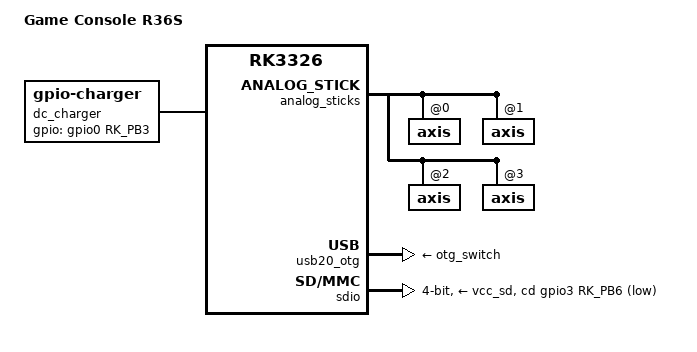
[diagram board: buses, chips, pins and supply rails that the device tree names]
// SPDX-License-Identifier: (GPL-2.0+ OR MIT)
/*
 * Game Console R36S (RK3326)
 *
 * The R36S is electrically very close to the ODROID-GO Super (which is
 * also what ArkOS boots it as), so this builds on the mainline
 * rk3326-odroid-go3.dts and only patches the differences that matter
 * for a headless boot. Differences were taken from the vendor DTB
 * shipped with ArkOS and from ROCKNIX's rk3326-gameconsole-r36s.dts.
 */

#include "rk3326-odroid-go3.dts"

/ {
	model = "Game Console R36S";
	compatible = "gameconsole,r36s", "hardkernel,rk3326-odroid-go3", "rockchip,rk3326";

	aliases {
		mmc0 = &sdmmc;
		mmc1 = &sdio;
	};

	/*
	 * The DC port does not go to the rk817 charger: the battery is
	 * charged by a separate charger IC, and the DC port also powers the
	 * OTG port directly. The rk817 is only used as fuel gauge, so expose
	 * the DC detect line as the mains supply.
	 */
	dc_charger: dc-charger {
		compatible = "gpio-charger";
		charger-type = "mains";
		gpios = <&gpio0 RK_PB3 GPIO_ACTIVE_HIGH>;
		pinctrl-names = "default";
		pinctrl-0 = <&dc_det>;
	};
};

/* 3380 mAh, values and OCV curve from the vendor DTB */
&battery {
	charge-full-design-microamp-hours = <3380000>;
	charge-term-current-microamp = <320000>;
	ocv-capacity-table-0 =  <4000000 100>, <3995000 95>, <3990000 90>, <3950000 85>,
				<3910000 80>, <3870000 75>, <3830000 70>, <3790000 65>,
				<3750000 60>, <3710000 55>, <3670000 50>, <3630000 45>,
				<3580000 40>, <3530000 35>, <3480000 30>, <3430000 25>,
				<3380000 20>, <3330000 15>, <3280000 10>, <3220000 5>,
				<3165000 0>;
};

/*
 * Same GPIOs as the ODROID-GO Super, but the R36S has L3/R3/FN where the
 * ODROID has F3-F6. Verified with evtest.
 */
&builtin_gamepad {
	button-sw11 {
		label = "L3";
		linux,code = <BTN_THUMBL>;
	};

	button-sw12 {
		label = "R3";
		linux,code = <BTN_THUMBR>;
	};

	button-sw13 {
		label = "FN";
		linux,code = <BTN_MODE>;
	};

	/* GPIO2_A5 is not connected */
	/delete-node/ button-sw14;
};

/*
 * Raw stick travel is about 60-900 around a center of ~512. The left
 * stick is mounted the other way round, a reversed abs-range inverts
 * the axis.
 *
 * adc_joystick_invert() in Linux 7.2 looks up the axis range by the
 * channel index instead of the event code, so inverted axes only work
 * when reg == linux,code. The channels are reordered to make that true
 * for ABS_X (0) and ABS_Y (1).
 */
&analog_sticks {
	io-channels = <&joystick_mux 0>,	/* left X */
		      <&joystick_mux 2>,	/* left Y */
		      <&joystick_mux 1>,	/* right X */
		      <&joystick_mux 3>;	/* right Y */

	axis@0 {
		linux,code = <ABS_X>;
		abs-range = <912 112>;
	};

	axis@1 {
		linux,code = <ABS_Y>;
		abs-range = <912 112>;
	};

	axis@2 {
		linux,code = <ABS_RX>;
		abs-range = <112 912>;
	};

	axis@3 {
		linux,code = <ABS_RY>;
		abs-range = <112 912>;
	};
};

/*
 * The R36S speaker is driven by an external amplifier on the headphone
 * outputs, which is cut off in hardware when headphones are plugged in.
 * The rk817's own class D output (SPKO) is not connected, so leave it
 * out to keep the codec's "Playback Mux" on HP.
 */
&{/rk817-sound} {
	simple-audio-card,hp-det-gpios = <&gpio2 RK_PC6 GPIO_ACTIVE_LOW>;
	simple-audio-card,widgets =
		"Microphone", "Mic Jack",
		"Headphone", "Headphones";
	simple-audio-card,routing =
		"MICL", "Mic Jack",
		"Headphones", "HPOL",
		"Headphones", "HPOR";
};

&rk817 {
	/*
	 * Restart and power off through the PMIC. The PSCI SYSTEM_RESET of
	 * the vendor BL31 (v1.3, 2018) never returns, so without this
	 * `reboot` hangs after "reboot: Restarting system".
	 */
	system-power-controller;

	regulators {
		/* 5V VBUS for the OTG port, needed for USB WiFi dongles */
		otg_switch: OTG_SWITCH {
			regulator-name = "otg_switch";
			regulator-boot-on;
		};
	};
};

&usb20_otg {
	vbus-supply = <&otg_switch>;
};

/* Second microSD slot ("TF2") */
&sdio {
	bus-width = <4>;
	cap-sd-highspeed;
	card-detect-delay = <800>;
	cd-gpios = <&gpio3 RK_PB6 GPIO_ACTIVE_LOW>;
	disable-wp;
	sd-uhs-sdr12;
	sd-uhs-sdr25;
	sd-uhs-sdr50;
	sd-uhs-sdr104;
	vmmc-supply = <&vcc_sd>;
	vqmmc-supply = <&vccio_sd>;
	status = "okay";
};

/*
 * The R36S ships with a number of different panels, none of which have a
 * mainline driver. Use ROCKNIX's panel-generic-dsi driver
 * (drivers/panel-generic-dsi) which takes the whole panel description
 * from the device tree.
 *
 * This is the original 640x480 ST7703 panel ("Panel 0" in the ArkOS
 * panel chooser), converted from the vendor rk3326-r35s-linux.dtb:
 *
 *   G  size=<width_mm>,<height_mm> delays=<prepare>,<reset>,<init>,<enable>,<ready>
 *      (delays in ms), flags are MIPI_DSI_MODE_* bits
 *   M  clock=<kHz> horizontal=<active>,<fp>,<sync>,<bp> vertical=<same>
 *   I  seq=<DCS command + payload> wait=<ms, in hex>
 */
&internal_display {
	compatible = "rocknix,generic-dsi";
	reset-gpios = <&gpio3 RK_PC0 GPIO_ACTIVE_LOW>;
	vdd-supply = <&vcc_lcd>;
	iovcc-supply = <&vcc_lcd>;
	/delete-property/ rotation;
	/delete-property/ IOVCC-supply;
	/delete-property/ VCC-supply;

	panel_description =
		"G size=52,70 delays=2,1,20,120,20 format=rgb888 lanes=4 flags=0xe03",

		"M clock=50000 horizontal=640,450,46,450 vertical=480,17,5,13 default=1",
		"M clock=25500 horizontal=640,188,2,190 vertical=480,13,2,5",
		"M clock=30600 horizontal=640,87,2,87 vertical=480,13,2,5",

		"I seq=b9f11283",
		"I seq=b1000000da80",
		"I seq=b2001370",
		"I seq=b31010282803ff00000000",
		"I seq=b480",
		"I seq=b50a0a",
		"I seq=b67f7f",
		"I seq=b82662f063",
		"I seq=ba338105f90e0e2000000000000000442500900a0000014f01000037",
		"I seq=bc47",
		"I seq=bf021100",
		"I seq=c0737350500000125000",
		"I seq=c153c0323277e1dddd77773333",
		"I seq=c68200bfff00ff",
		"I seq=c7b8000a000000",
		"I seq=c810401e02",
		"I seq=cc0b",
		"I seq=e000070d37353f4144060c0d0f111012141a00070d37353f4144060c0d0f111012141a",
		"I seq=e307070b0b0b0b00000000ff00c010",
		"I seq=e9c810020000b0b11131232880b0b127080004020000000004020000008888ba60240888888888888888ba713518888888888800000001000000000000000000",
		"I seq=ea970a820203070000000000008188ba17538888888888888088ba0642888888888888230000028000000000000000000000000000000000000000000000",
		"I seq=efffff01",
		"I seq=11 wait=c8",
		"I seq=29 wait=32";
};
